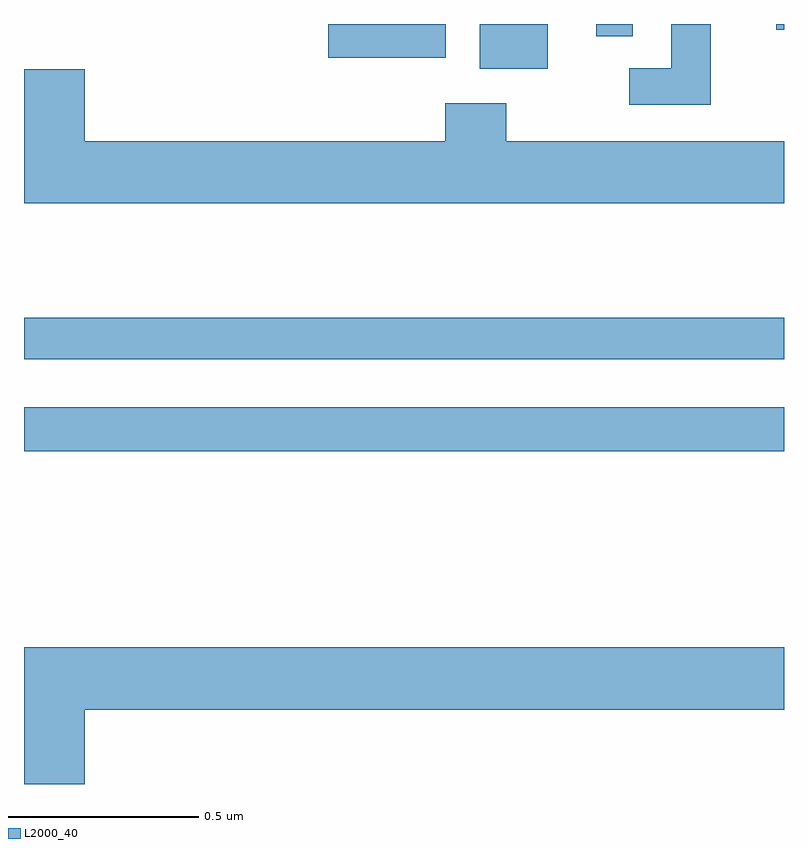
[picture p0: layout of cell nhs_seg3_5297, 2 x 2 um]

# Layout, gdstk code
import gdstk
lib = gdstk.Library(unit=1e-6, precision=1e-09)
def R(c, l, rs):  # rectangles x0, y0, x1, y1
    for r in rs: c.add(gdstk.rectangle(r[:2], r[2:], *l))
def P(c, l, *ps):  # polygons
    for p in ps: c.add(gdstk.Polygon(p, *l))
L2000_40 = (2000, 40)

nhs_seg3_5297 = lib.new_cell('nhs_seg3_5297')
R(nhs_seg3_5297, L2000_40, [(177,688.276,179,688.392), (177,688.518,179,688.627), (178.199,689.282,178.378,689.4), (177.801,689.311,178.11,689.4), (178.506,689.368,178.602,689.4), (178.979,689.385,179,689.4)])
P(nhs_seg3_5297, L2000_40, [(178.807,689.4),(178.703,689.4),(178.703,689.283),(178.593,689.283),(178.593,689.187),(178.807,689.187)],
  [(179,689.092),(178.269,689.092),(178.269,689.191),(178.109,689.191),(178.109,689.092),(177.16,689.092),(177.16,689.281),(177,689.281),(177,688.928),(179,688.928)],
  [(177.16,687.596),(179,687.596),(179,687.76),(177,687.76),(177,687.4),(177.16,687.4)])

lib.write_gds('nhs_seg3_5297.gds')
